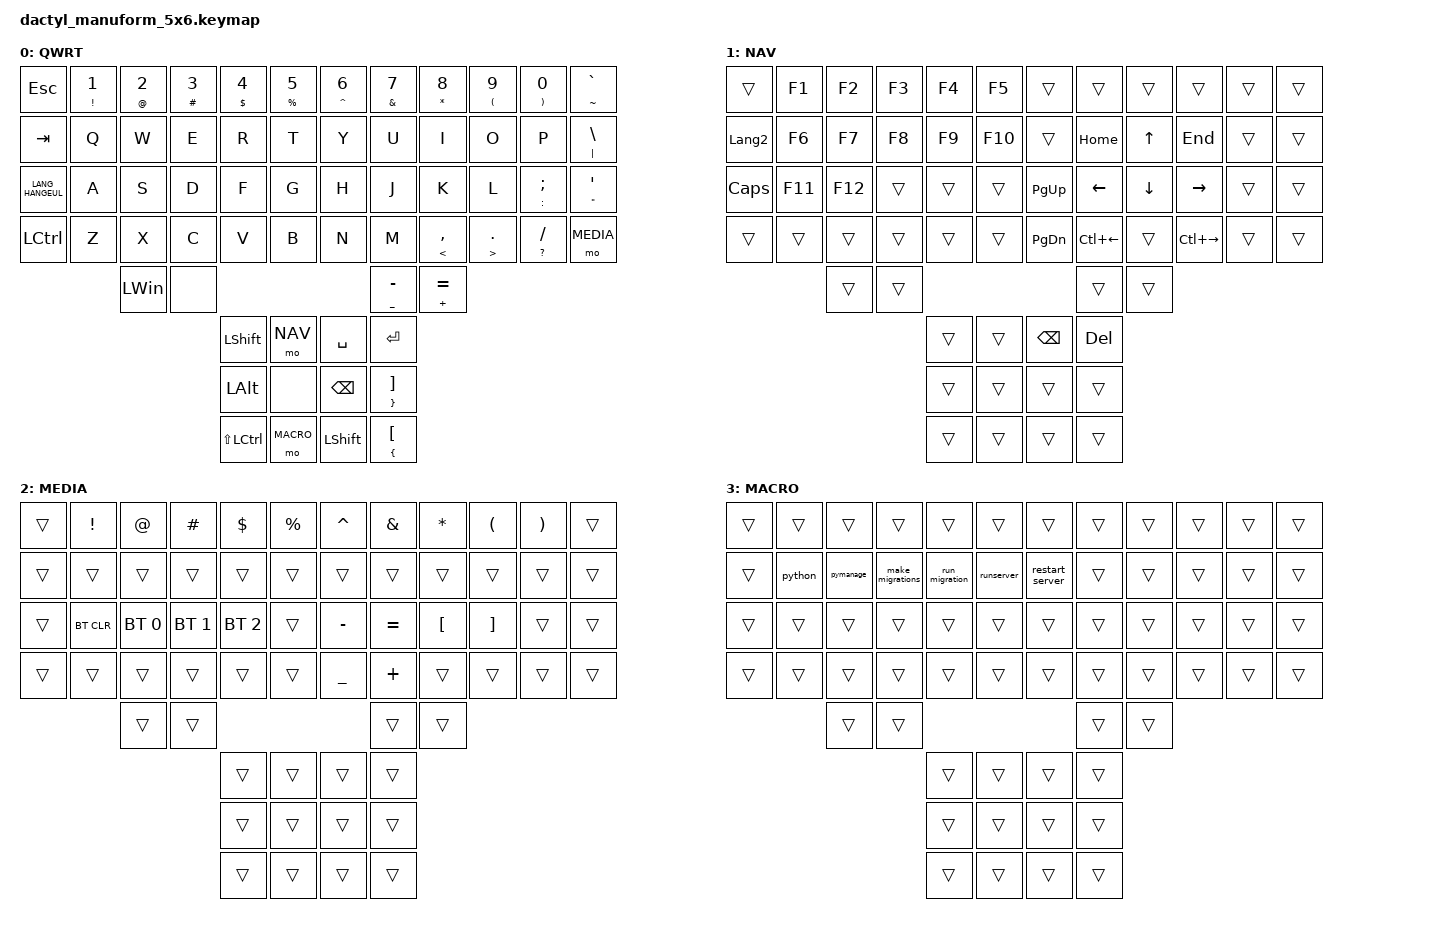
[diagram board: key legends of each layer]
#define DEFAULT 0
#define NAV     1
#define MEDIA   2
#define MACRO   3

#include <behaviors.dtsi>
#include <dt-bindings/zmk/bt.h>
#include <dt-bindings/zmk/keys.h>
#include <dt-bindings/zmk/outputs.h>

&lt {
    tapping-term-ms = <240>;
    flavor = "balanced";
    quick-tap-ms = <150>;
};

&mt {
    tapping-term-ms = <200>;
    flavor = "tap-preferred";
    quick-tap-ms = <150>;
};

/ {
    combos {
        compatible = "zmk,combos";

        python {
            bindings = <&python>;
            key-positions = <22 18>;
        };

        pymanage {
            bindings = <&pymanage>;
            key-positions = <22 43>;
        };

        make_migrations {
            bindings = <&make_migrations>;
            key-positions = <43 29>;
        };

        run_migrate {
            bindings = <&run_migration>;
            key-positions = <43 29 16>;
        };

        runserver {
            bindings = <&runserver>;
            key-positions = <16 26>;
        };

        restart_server {
            bindings = <&restart_server>;
            key-positions = <16 17 26>;
        };

        toggle_lang {
            bindings = <&kp LANG_HANGEUL>;
            key-positions = <50 51>;
        };
    };

    macros {
        python: python {
            compatible = "zmk,behavior-macro";
            #binding-cells = <0>;
            bindings = <&kp P &kp Y &kp T &kp H &kp O &kp N &kp SPACE>;
            label = "PYTHON";
        };

        pymanage: pymanage {
            compatible = "zmk,behavior-macro";
            #binding-cells = <0>;
            bindings = <&kp P &kp Y &kp T &kp H &kp O &kp N &kp SPACE &kp M &kp A &kp N &kp A &kp G &kp E &kp DOT &kp P &kp Y &kp SPACE>;
            label = "PYMANAGE";
        };

        make_migrations: make_migrations {
            compatible = "zmk,behavior-macro";
            #binding-cells = <0>;
            bindings = <&kp P &kp Y &kp T &kp H &kp O &kp N &kp SPACE &kp M &kp A &kp N &kp A &kp G &kp E &kp DOT &kp P &kp Y &kp SPACE &kp M &kp A &kp K &kp E &kp M &kp I &kp G &kp R &kp A &kp T &kp I &kp O &kp N &kp S>;
            label = "MAKE_MIGRATIONS";
        };

        run_migration: run_migration {
            compatible = "zmk,behavior-macro";
            #binding-cells = <0>;
            bindings = <&kp P &kp Y &kp T &kp H &kp O &kp N &kp SPACE &kp M &kp A &kp N &kp A &kp G &kp E &kp DOT &kp P &kp Y &kp SPACE &kp M &kp I &kp G &kp R &kp A &kp T &kp E>;
            label = "RUN_MIGRATION";
        };

        runserver: runserver {
            compatible = "zmk,behavior-macro";
            #binding-cells = <0>;
            bindings = <&kp P &kp Y &kp T &kp H &kp O &kp N &kp SPACE &kp M &kp A &kp N &kp A &kp G &kp E &kp DOT &kp P &kp Y &kp SPACE &kp R &kp U &kp N &kp S &kp E &kp R &kp V &kp E &kp R &kp SPACE>;
            label = "RUNSERVER";
        };

        restart_server: restart_server {
            compatible = "zmk,behavior-macro";
            #binding-cells = <0>;
            bindings = <&kp S &kp U &kp D &kp O &kp SPACE &kp S &kp Y &kp S &kp T &kp E &kp M &kp C &kp T &kp L &kp SPACE &kp R &kp E &kp S &kp T &kp A &kp R &kp T &kp SPACE>;
            label = "RESTART_SERVER";
        };
    };

    keymap {
        compatible = "zmk,keymap";

        default_layer {
            label = "QWRT";
            bindings = <
                &kp ESC           &mt EXCL N1  &mt AT N2     &mt HASH N3   &mt DOLLAR N4   &mt PERCENT N5               &mt CARET N6  &mt AMPS N7  &mt ASTRK N8         &mt LEFT_PARENTHESIS N9  &mt RIGHT_PARENTHESIS N0  &mt TILDE GRAVE
                &kp TAB           &kp Q        &kp W         &kp E         &kp R           &kp T                        &kp Y         &kp U        &kp I                &kp O                    &kp P                     &mt PIPE BACKSLASH
                &kp LANG_HANGEUL  &kp A        &kp S         &kp D         &kp F           &kp G                        &kp H         &kp J        &kp K                &kp L                    &mt COLON SEMI            &mt DOUBLE_QUOTES SQT
                &kp LCTRL         &kp Z        &kp X         &kp C         &kp V           &kp B                        &kp N         &kp M        &mt LESS_THAN COMMA  &mt GREATER_THAN DOT     &mt QMARK FSLH            &mo MEDIA
                                               &kp LEFT_WIN  &none                                                                   &mt UNDER MINUS  &mt PLUS EQUAL
                                                                            &kp LEFT_SHIFT &mo NAV                      &kp SPACE  &kp ENTER
                                                                            &kp LEFT_ALT   &none                        &kp BACKSPACE &mt RIGHT_BRACE RIGHT_BRACKET
                                                                            &kp LS(LCTRL)   &mo MACRO                   &kp LEFT_SHIFT  &mt LEFT_BRACE LEFT_BRACKET
            >;
        };

        navigation_layer {
            label = "NAV";
            bindings = <
                &trans          &kp F1   &kp F2   &kp F3  &kp F4  &kp F5                  &trans         &trans        &trans        &trans         &trans  &trans
                &kp LANGUAGE_2  &kp F6   &kp F7   &kp F8  &kp F9  &kp F10                 &trans         &kp HOME      &kp UP_ARROW  &kp END        &trans  &trans
                &kp CAPS        &kp F11  &kp F12  &trans  &trans  &trans                  &kp PAGE_UP    &kp LEFT      &kp DOWN      &kp RIGHT      &trans  &trans
                &trans          &trans   &trans   &trans  &trans  &trans                  &kp PAGE_DOWN  &kp LC(LEFT)  &trans        &kp LC(RIGHT)  &trans  &trans
                                           &trans  &trans                                            &trans  &trans
                                                           &trans  &trans                  &kp BACKSPACE  &kp DEL
                                                           &trans  &trans                  &trans   &trans
                                                           &trans  &trans                  &trans   &trans
            >;
        };

        media_layer {
            label = "MEDIA";
            bindings = <
                &trans  &kp EXCLAMATION  &kp AT_SIGN   &kp HASH      &kp DOLLAR    &kp PERCENT          &kp CARET       &kp AMPERSAND  &kp ASTERISK      &kp LEFT_PARENTHESIS  &kp RIGHT_PARENTHESIS  &trans
                &trans  &trans           &trans        &trans        &trans        &trans               &trans          &trans         &trans            &trans                &trans                 &trans
                &trans  &bt BT_CLR       &bt BT_SEL 0  &bt BT_SEL 1  &bt BT_SEL 2  &trans               &kp MINUS       &kp EQUAL      &kp LEFT_BRACKET  &kp RIGHT_BRACKET     &trans                 &trans
                &trans  &trans           &trans        &trans        &trans        &trans               &kp UNDERSCORE  &kp PLUS       &trans            &trans                &trans                 &trans
                                   &trans  &trans                                              &trans  &trans
                                                   &trans  &trans                              &trans  &trans
                                                   &trans  &trans                              &trans  &trans
                                                   &trans  &trans                              &trans  &trans
            >;
        };


        macro_layer {
            label = "MACRO";
            bindings = <
                &trans  &trans    &trans      &trans            &trans          &trans       &trans           &trans  &trans  &trans  &trans  &trans
                &trans  &python   &pymanage   &make_migrations  &run_migration  &runserver   &restart_server  &trans  &trans  &trans  &trans  &trans
                &trans  &trans    &trans      &trans            &trans          &trans       &trans           &trans  &trans  &trans  &trans  &trans
                &trans  &trans    &trans      &trans            &trans          &trans       &trans           &trans  &trans  &trans  &trans  &trans
                         &trans    &trans                                                      &trans  &trans
                                   &trans      &trans                                         &trans  &trans
                                   &trans      &trans                                         &trans  &trans
                                   &trans      &trans                                         &trans  &trans
            >;
        };
    };
};
